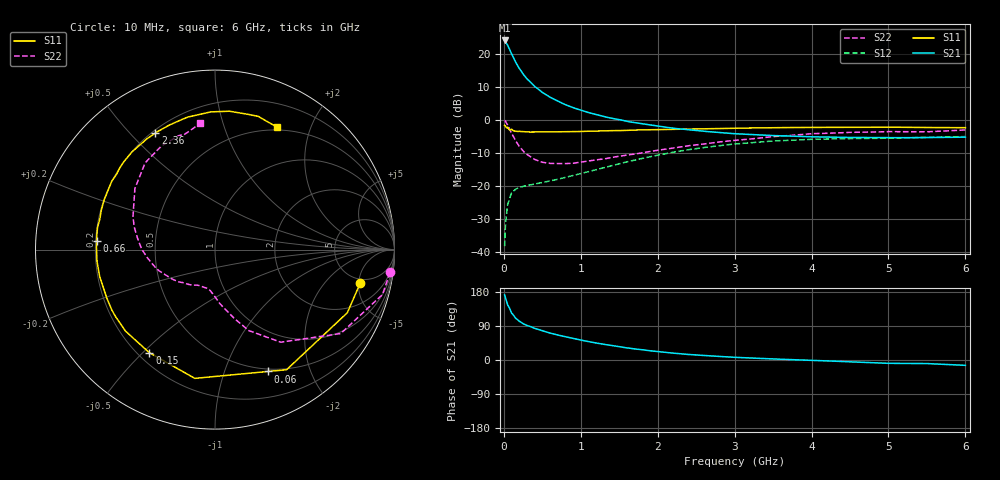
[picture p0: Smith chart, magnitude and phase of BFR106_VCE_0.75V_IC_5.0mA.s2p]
! Infineon Technologies  Discrete & RF Semiconductors
! BFR106
! VCE = 0.75 V,  IC =  5.0 mA
! Common Emitter S-Parameters:  Nov 2015
# GHz  S  MA  R  50
!  f  S11  S21  S12  S22
! GHz  MAG  ANG  MAG  ANG  MAG  ANG  MAG  ANG
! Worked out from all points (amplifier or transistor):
!   210 points, 10 MHz to 6 GHz, reference 50 ohm
!   highest |S21| = 24.1 dB at 10 MHz (marker M1)
!   |S21| within 3 dB of that: start of sweep to 79.37 MHz
!   unconditionally stable (mu >= 1): 580.8 MHz to end of sweep
!   at 185 MHz: K = 0.40, MSG = 18.5 dB, |S12| = -20.6 dB
!   at 1.52 GHz: K = 1.18, MAG = 4.0 dB, |S12| = -13.1 dB
!   at 6 GHz: K = 1.03, MAG = -1.1 dB, |S12| = -5.0 dB
!   S11 on the Smith chart (normalised r, x): 10 MHz: 4.35, -5.24; 60 MHz: 0.47, -1.42; 150 MHz: 0.24, -0.52; 660 MHz: 0.20, +0.03; 2.36 GHz: 0.21, +0.59; 6 GHz: 0.46, +1.52
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0.01  0.8304 -13.0  16.11 171.8  0.0122 83.6  0.9831 -7.4
0.02  0.8169 -25.5  15.72 165.0  0.0239 77.4  0.9665 -15.0
0.05  0.7791 -59.2  13.63 145.2  0.0523 60.4  0.8424 -33.7
0.06  0.7409 -66.4  12.82 141.9  0.0571 56.0  0.7935 -37.0
0.1  0.7262 -98.9  10.18 124.1  0.0783 44.3  0.6331 -54.6
0.15  0.681 -122.5  7.646 110.7  0.089 36.0  0.4894 -67.3
0.2  0.6744 -137.6  6.085 102.4  0.0947 32.5  0.3999 -74.2
0.24  0.6681 -146.0  5.199 97.3  0.0977 31.0  0.3494 -79.0
0.26  0.6662 -149.6  4.83 95.0  0.0991 30.7  0.3298 -81.2
0.3  0.6606 -155.8  4.221 91.2  0.1014 30.8  0.3012 -85.0
0.4  0.6598 -166.8  3.239 83.5  0.1068 31.8  0.2527 -91.7
0.5  0.6606 -174.2  2.626 77.0  0.1128 33.8  0.2287 -97.0
0.66  0.6613 176.0  2.047 68.1  0.1231 38.1  0.2189 -105.4
0.8  0.6661 169.4  1.709 61.2  0.1349 41.3  0.2182 -112.3
1.02  0.6716 159.8  1.386 51.8  0.1561 45.6  0.2322 -121.5
1.4  0.6902 146.3  1.064 38.4  0.2031 48.9  0.2706 -138.4
2.02  0.7163 126.7  0.803 21.9  0.2957 46.0  0.3502 -164.6
2.36  0.7292 117.1  0.72 15.3  0.3485 41.5  0.4005 -178.6
3.1  0.7548 99.4  0.612 6.3  0.4416 28.9  0.5024 154.9
4.1  0.7744 82.7  0.554 -1.6  0.5116 12.0  0.6246 126.4
5.1  0.7778 71.1  0.539 -8.9  0.5332 -0.8  0.6658 106.9
6  0.7655 63.4  0.55 -14.1  0.561 -9.8  0.7074 96.7
